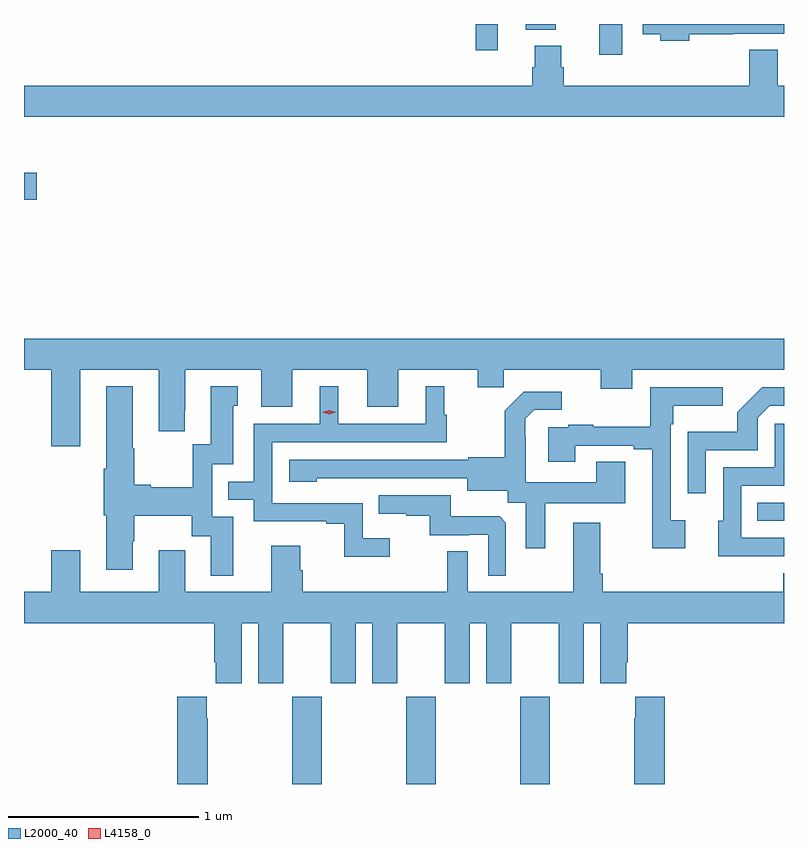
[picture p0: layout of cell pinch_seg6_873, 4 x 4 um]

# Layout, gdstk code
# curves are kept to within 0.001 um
import gdstk
lib = gdstk.Library(unit=1e-6, precision=1e-09)
def R(c, l, rs):  # rectangles x0, y0, x1, y1
    for r in rs: c.add(gdstk.rectangle(r[:2], r[2:], *l))
def A(c, l, x, y, w, h, nx, ny, dx, dy):  # array of equal rectangles
    R(c, l, [(x+i*dx, y+j*dy, x+i*dx+w, y+j*dy+h) for i in range(nx) for j in range(ny)])
def P(c, l, *ps):  # polygons
    for p in ps: c.add(gdstk.Polygon(p, *l))
L2000_40 = (2000, 40)
L4158_0 = (4158, 0)

pinch_seg6_873 = lib.new_cell('pinch_seg6_873')
A(pinch_seg6_873, L2000_40, 182.617, 943.825, 0.155, 0.459, 3, 1, 0.6, 0)
R(pinch_seg6_873, L2000_40, [(185.065,945.21,185.205,945.306), (181.205,946.901,181.273,947.043), (184.232,947.664,184.354,947.825), (183.583,947.688,183.699,947.825), (183.845,947.795,184.003,947.825)])
P(pinch_seg6_873, L2000_40, [(184.706,947.772),(184.937,947.772),(184.937,947.774),(185.205,947.774),(185.205,947.825),(184.461,947.825),(184.461,947.772),(184.553,947.772),(184.553,947.738),(184.706,947.738)],
  [(185.205,947.5),(185.173,947.5),(185.173,947.689),(185.021,947.689),(185.021,947.5),(184.046,947.5),(184.046,947.598),(184.033,947.598),(184.033,947.71),(183.893,947.71),(183.893,947.598),(183.881,947.598),(183.881,947.5),(181.205,947.5),(181.205,947.336),(185.205,947.336)],
  [(181.501,946.004),(181.913,946.004),(181.913,945.681),(182.05,945.681),(182.05,945.793),(182.053,945.793),(182.053,946.004),(182.453,946.004),(182.453,945.81),(182.617,945.81),(182.617,946.004),(183.011,946.004),(183.011,945.81),(183.175,945.81),(183.175,946.004),(183.593,946.004),(183.593,945.914),(183.731,945.914),(183.731,946.004),(184.241,946.004),(184.241,945.905),(184.405,945.905),(184.405,946.004),(185.205,946.004),(185.205,946.168),(181.205,946.168),(181.205,946.004),(181.349,946.004),(181.349,945.603),(181.501,945.603)],
  [(183.13,945.118),(182.988,945.118),(182.988,945.303),(182.511,945.303),(182.511,945.624),(183.43,945.624),(183.43,945.768),(183.418,945.768),(183.418,945.919),(183.32,945.919),(183.32,945.72),(182.86,945.72),(182.86,945.919),(182.762,945.919),(182.762,945.72),(182.415,945.72),(182.415,945.417),(182.281,945.417),(182.281,945.321),(182.415,945.321),(182.415,945.207),(182.795,945.207),(182.795,945.195),(182.89,945.195),(182.89,945.02),(183.13,945.02)],
  [(182.305,945.231),(182.196,945.231),(182.196,945.507),(182.305,945.507),(182.305,945.816),(182.329,945.816),(182.329,945.919),(182.189,945.919),(182.189,945.612),(182.093,945.612),(182.093,945.388),(181.873,945.388),(181.873,945.401),(181.785,945.401),(181.785,945.593),(181.777,945.593),(181.777,945.919),(181.637,945.919),(181.637,945.484),(181.625,945.484),(181.625,945.24),(181.637,945.24),(181.637,944.952),(181.777,944.952),(181.777,945.102),(181.785,945.102),(181.785,945.236),(182.088,945.236),(182.088,945.13),(182.189,945.13),(182.189,944.922),(182.305,944.922)],
  [(184.794,945.582),(185.067,945.582),(185.067,945.753),(185.13,945.816),(185.205,945.816),(185.205,945.912),(185.09,945.912),(184.96,945.782),(184.96,945.679),(184.698,945.679),(184.698,945.354),(184.794,945.354)],
  [(184.684,945.214),(184.608,945.214),(184.608,945.719),(184.621,945.719),(184.621,945.815),(184.882,945.815),(184.882,945.912),(184.5,945.912),(184.5,945.704),(184.201,945.704),(184.201,945.715),(184.069,945.715),(184.069,945.702),(183.965,945.702),(183.965,945.522),(184.105,945.522),(184.105,945.606),(184.415,945.606),(184.415,945.588),(184.511,945.588),(184.511,945.066),(184.684,945.066)],
  [(183.949,945.302),(184.369,945.302),(184.369,945.521),(184.217,945.521),(184.217,945.412),(183.846,945.412),(183.846,945.653),(183.844,945.653),(183.844,945.748),(183.891,945.795),(184.036,945.795),(184.036,945.889),(183.835,945.889),(183.735,945.789),(183.735,945.544),(183.543,945.544),(183.543,945.531),(182.601,945.531),(182.601,945.416),(182.745,945.416),(182.745,945.434),(183.539,945.435),(183.539,945.368),(183.75,945.368),(183.75,945.304),(183.845,945.304),(183.845,945.066),(183.949,945.066)],
  [(185.077,945.024),(185.205,945.024),(185.205,945.12),(184.98,945.12),(184.98,945.396),(185.205,945.396),(185.205,945.721),(185.157,945.721),(185.157,945.492),(184.884,945.492),(184.884,945.21),(184.859,945.21),(184.859,945.023),(185.077,945.023)],
  [(183.741,945.201),(183.709,945.233),(183.451,945.233),(183.451,945.345),(183.073,945.345),(183.073,945.248),(183.217,945.248),(183.217,945.237),(183.341,945.237),(183.341,945.135),(183.548,945.135),(183.548,945.138),(183.648,945.138),(183.648,944.921),(183.741,944.921)],
  [(182.35,944.672),(182.438,944.672),(182.438,944.355),(182.569,944.355),(182.569,944.672),(182.819,944.672),(182.819,944.355),(182.95,944.355),(182.95,944.672),(183.038,944.672),(183.038,944.355),(183.169,944.355),(183.169,944.672),(183.419,944.672),(183.419,944.355),(183.55,944.355),(183.55,944.672),(183.638,944.672),(183.638,944.355),(183.769,944.355),(183.769,944.672),(184.019,944.672),(184.019,944.355),(184.15,944.355),(184.15,944.672),(184.238,944.672),(184.238,944.355),(184.375,944.355),(184.375,944.467),(184.382,944.467),(184.382,944.672),(185.205,944.672),(185.205,944.935),(185.201,944.935),(185.201,944.836),(184.25,944.836),(184.25,944.932),(184.237,944.932),(184.237,945.199),(184.097,945.199),(184.097,944.836),(183.54,944.836),(183.54,945.05),(183.432,945.05),(183.432,944.836),(182.672,944.836),(182.672,944.949),(182.659,944.949),(182.659,945.079),(182.507,945.079),(182.507,944.836),(182.053,944.836),(182.053,945.055),(181.913,945.055),(181.913,944.836),(181.501,944.836),(181.501,945.055),(181.349,945.055),(181.349,944.836),(181.205,944.836),(181.205,944.672),(182.207,944.672),(182.207,944.467),(182.213,944.467),(182.213,944.355),(182.35,944.355)],
  [(182.172,944.171),(182.167,944.171),(182.167,944.284),(182.012,944.284),(182.012,943.825),(182.172,943.825)],
  [(184.577,944.284),(184.421,944.284),(184.421,944.171),(184.417,944.171),(184.417,943.825),(184.577,943.825)])
P(pinch_seg6_873, L4158_0, [(182.811,945.771),(182.776,945.781),(182.775,945.781),(182.776,945.782),(182.811,945.791),(182.846,945.782),(182.847,945.781),(182.846,945.781)])

lib.write_gds('pinch_seg6_873.gds')
